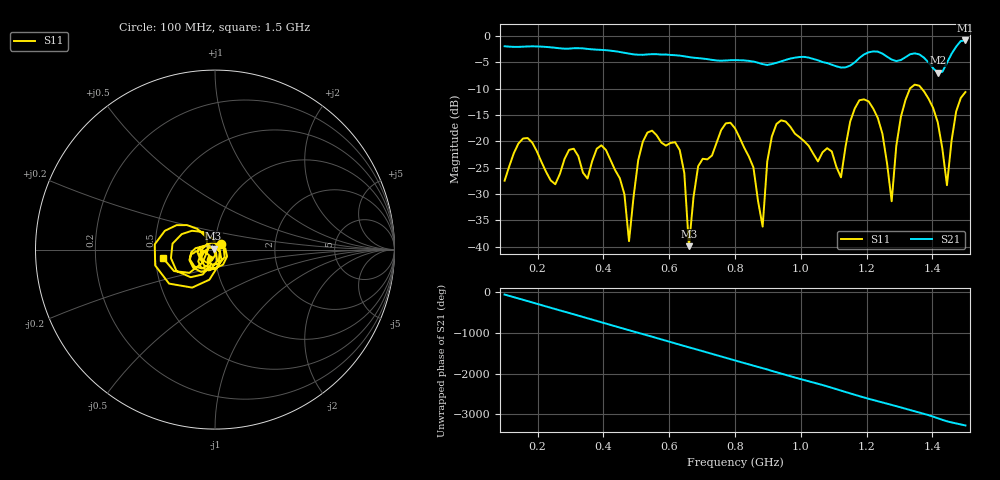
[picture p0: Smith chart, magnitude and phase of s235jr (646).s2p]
! NanoVNA-App
! Date: 2025-09-25 15:09:12
! Start: 100MHz Stop: 1,5GHz Points: 101
! S-Parameter data: F S11 S21 S12 S22
# Hz S RI R 50
!  Frequency  S11_Real  S11_Imag  S21_Real  S21_Imag  S12_Real  S12_Imag  S22_Real  S22_Imag
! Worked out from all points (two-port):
!   101 points, 100 MHz to 1.5 GHz, reference 50 ohm
!   highest |S21| = -0.86 dB at 1.5 GHz (marker M1); lowest = -7.0 dB at 1.416 GHz (marker M2)
!   |S21| within 3 dB of the highest: start of sweep to 645.3 MHz; 1.185 GHz to 1.26 GHz (75.35 MHz wide, 6.16 % of centre) (the widest 2 of 4)
!   lowest |S11| = -39.9 dB at 660 MHz (marker M3), VSWR 1.02, Z = 49.2 + j0.593 ohm
!   |S11| at or under -10 dB: start of sweep to 1.332 GHz; 1.367 GHz to end of sweep
!   S12 and S22 are empty: the file has one direction only
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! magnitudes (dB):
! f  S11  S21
! 100 MHz  -27.5  -2.0
! 170 MHz  -19.4  -2.0
! 338 MHz  -25.9  -2.4
! 408 MHz  -21.7  -2.7
! 478 MHz  -38.9  -3.4
! 520 MHz  -20.1  -3.6
! 576 MHz  -20.2  -3.5
! 632 MHz  -21.6  -3.7
! 660 MHz  -39.9  -4.0
! 688 MHz  -24.7  -4.2
! 800 MHz  -17.5  -4.6
! 884 MHz  -36.2  -5.3
! 898 MHz  -23.8  -5.5
! 926 MHz  -16.7  -5.1
! 1.038 GHz  -22.4  -4.4
! 1.122 GHz  -26.8  -6.0
! 1.206 GHz  -12.4  -3.1
! 1.276 GHz  -31.4  -4.5
! 1.332 GHz  -9.9  -3.5
! 1.416 GHz  -16.4  -7.0
! 1.444 GHz  -28.3  -5.1
! 1.5 GHz  -10.7  -0.9
